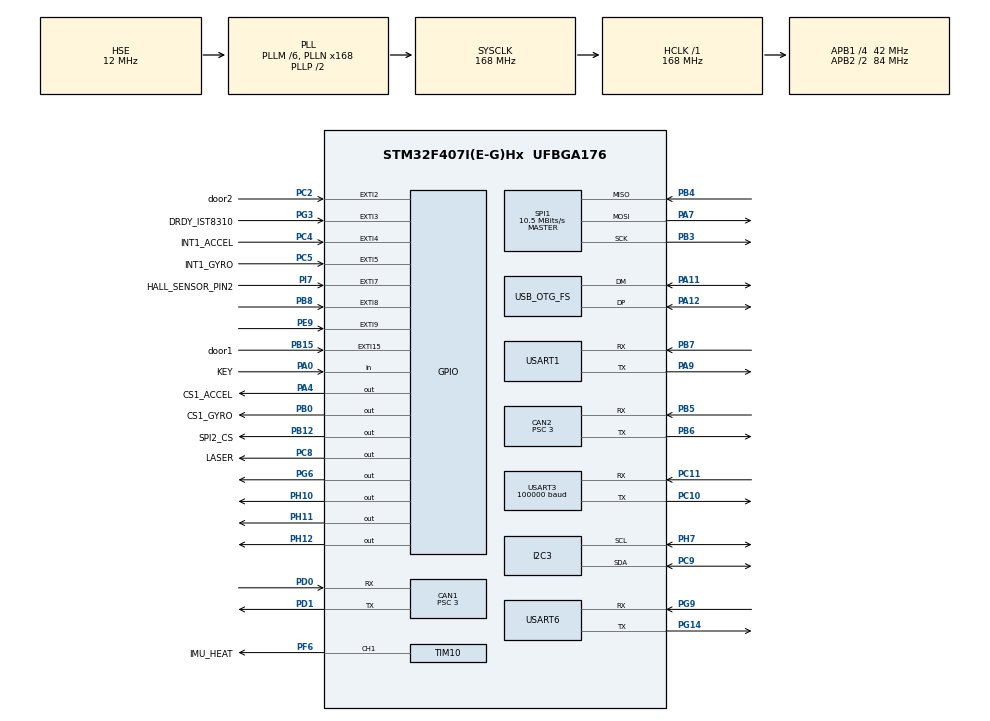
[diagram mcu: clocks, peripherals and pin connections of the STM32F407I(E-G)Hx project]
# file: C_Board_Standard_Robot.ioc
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CAN1.BS1=CAN_BS1_10TQ
CAN1.BS2=CAN_BS2_3TQ
CAN1.CalculateBaudRate=1000000
CAN1.CalculateTimeBit=1000
CAN1.CalculateTimeQuantum=71.42857142857143
CAN1.Prescaler=3
CAN2.BS1=CAN_BS1_10TQ
CAN2.BS2=CAN_BS2_3TQ
CAN2.CalculateBaudRate=1000000
CAN2.CalculateTimeBit=1000
CAN2.CalculateTimeQuantum=71.42857142857143
CAN2.Prescaler=3
Dma.Request0=SPI1_RX
Dma.Request1=SPI1_TX
Dma.Request2=USART1_RX
Dma.Request3=USART1_TX
Dma.Request4=USART3_RX
Dma.Request5=USART3_TX
Dma.Request6=USART6_RX
Dma.Request7=USART6_TX
Dma.SPI1_RX.0.Direction=DMA_PERIPH_TO_MEMORY
Dma.SPI1_RX.0.FIFOMode=DMA_FIFOMODE_DISABLE
Dma.SPI1_RX.0.Instance=DMA2_Stream0
Dma.SPI1_RX.0.MemDataAlignment=DMA_MDATAALIGN_BYTE
Dma.SPI1_RX.0.MemInc=DMA_MINC_ENABLE
Dma.SPI1_RX.0.Mode=DMA_NORMAL
Dma.SPI1_RX.0.PeriphDataAlignment=DMA_PDATAALIGN_BYTE
Dma.SPI1_RX.0.PeriphInc=DMA_PINC_DISABLE
Dma.SPI1_RX.0.Priority=DMA_PRIORITY_VERY_HIGH
Dma.SPI1_TX.1.Direction=DMA_MEMORY_TO_PERIPH
Dma.SPI1_TX.1.FIFOMode=DMA_FIFOMODE_DISABLE
Dma.SPI1_TX.1.Instance=DMA2_Stream3
Dma.SPI1_TX.1.MemDataAlignment=DMA_MDATAALIGN_BYTE
Dma.SPI1_TX.1.MemInc=DMA_MINC_ENABLE
Dma.SPI1_TX.1.Mode=DMA_NORMAL
Dma.SPI1_TX.1.PeriphDataAlignment=DMA_PDATAALIGN_BYTE
Dma.SPI1_TX.1.PeriphInc=DMA_PINC_DISABLE
Dma.SPI1_TX.1.Priority=DMA_PRIORITY_HIGH
Dma.USART1_RX.2.Direction=DMA_PERIPH_TO_MEMORY
Dma.USART1_RX.2.FIFOMode=DMA_FIFOMODE_DISABLE
Dma.USART1_RX.2.Instance=DMA2_Stream2
Dma.USART1_RX.2.MemDataAlignment=DMA_MDATAALIGN_BYTE
Dma.USART1_RX.2.MemInc=DMA_MINC_ENABLE
Dma.USART1_RX.2.Mode=DMA_NORMAL
Dma.USART1_RX.2.PeriphDataAlignment=DMA_PDATAALIGN_BYTE
Dma.USART1_RX.2.PeriphInc=DMA_PINC_DISABLE
Dma.USART1_RX.2.Priority=DMA_PRIORITY_VERY_HIGH
Dma.USART1_TX.3.Direction=DMA_MEMORY_TO_PERIPH
Dma.USART1_TX.3.FIFOMode=DMA_FIFOMODE_DISABLE
Dma.USART1_TX.3.Instance=DMA2_Stream7
Dma.USART1_TX.3.MemDataAlignment=DMA_MDATAALIGN_BYTE
Dma.USART1_TX.3.MemInc=DMA_MINC_ENABLE
Dma.USART1_TX.3.Mode=DMA_NORMAL
Dma.USART1_TX.3.PeriphDataAlignment=DMA_PDATAALIGN_BYTE
Dma.USART1_TX.3.PeriphInc=DMA_PINC_DISABLE
Dma.USART1_TX.3.Priority=DMA_PRIORITY_VERY_HIGH
Dma.USART3_RX.4.Direction=DMA_PERIPH_TO_MEMORY
Dma.USART3_RX.4.FIFOMode=DMA_FIFOMODE_DISABLE
Dma.USART3_RX.4.Instance=DMA1_Stream1
Dma.USART3_RX.4.MemDataAlignment=DMA_MDATAALIGN_BYTE
Dma.USART3_RX.4.MemInc=DMA_MINC_ENABLE
Dma.USART3_RX.4.Mode=DMA_NORMAL
Dma.USART3_RX.4.PeriphDataAlignment=DMA_PDATAALIGN_BYTE
Dma.USART3_RX.4.PeriphInc=DMA_PINC_DISABLE
Dma.USART3_RX.4.Priority=DMA_PRIORITY_VERY_HIGH
Dma.USART3_TX.5.Direction=DMA_MEMORY_TO_PERIPH
Dma.USART3_TX.5.FIFOMode=DMA_FIFOMODE_DISABLE
Dma.USART3_TX.5.Instance=DMA1_Stream3
Dma.USART3_TX.5.MemDataAlignment=DMA_MDATAALIGN_BYTE
Dma.USART3_TX.5.MemInc=DMA_MINC_ENABLE
Dma.USART3_TX.5.Mode=DMA_NORMAL
Dma.USART3_TX.5.PeriphDataAlignment=DMA_PDATAALIGN_BYTE
Dma.USART3_TX.5.PeriphInc=DMA_PINC_DISABLE
Dma.USART3_TX.5.Priority=DMA_PRIORITY_VERY_HIGH
Dma.USART6_RX.6.Direction=DMA_PERIPH_TO_MEMORY
Dma.USART6_RX.6.FIFOMode=DMA_FIFOMODE_DISABLE
Dma.USART6_RX.6.Instance=DMA2_Stream1
Dma.USART6_RX.6.MemDataAlignment=DMA_MDATAALIGN_BYTE
Dma.USART6_RX.6.MemInc=DMA_MINC_ENABLE
Dma.USART6_RX.6.Mode=DMA_NORMAL
Dma.USART6_RX.6.PeriphDataAlignment=DMA_PDATAALIGN_BYTE
Dma.USART6_RX.6.PeriphInc=DMA_PINC_DISABLE
Dma.USART6_RX.6.Priority=DMA_PRIORITY_VERY_HIGH
Dma.USART6_TX.7.Direction=DMA_MEMORY_TO_PERIPH
Dma.USART6_TX.7.FIFOMode=DMA_FIFOMODE_DISABLE
Dma.USART6_TX.7.Instance=DMA2_Stream6
Dma.USART6_TX.7.MemDataAlignment=DMA_MDATAALIGN_BYTE
Dma.USART6_TX.7.MemInc=DMA_MINC_ENABLE
Dma.USART6_TX.7.Mode=DMA_NORMAL
Dma.USART6_TX.7.PeriphDataAlignment=DMA_PDATAALIGN_BYTE
Dma.USART6_TX.7.PeriphInc=DMA_PINC_DISABLE
Dma.USART6_TX.7.Priority=DMA_PRIORITY_VERY_HIGH
FREERTOS.INCLUDE_eTaskGetState=1
FREERTOS.INCLUDE_pcTaskGetTaskName=1
FREERTOS.INCLUDE_uxTaskGetStackHighWaterMark=1
FREERTOS.INCLUDE_vTaskCleanUpResources=1
FREERTOS.INCLUDE_vTaskDelayUntil=1
FREERTOS.INCLUDE_xEventGroupSetBitFromISR=1
FREERTOS.INCLUDE_xQueueGetMutexHolder=1
FREERTOS.INCLUDE_xSemaphoreGetMutexHolder=1
FREERTOS.INCLUDE_xTaskAbortDelay=1
FREERTOS.INCLUDE_xTaskGetCurrentTaskHandle=1
FREERTOS.INCLUDE_xTaskGetHandle=1
FREERTOS.INCLUDE_xTimerPendFunctionCall=1
FREERTOS.Tasks01=INSTask,2,1024,StartINSTask,Default,NULL,Dynamic,NULL,NULL;ShootTask,0,128,Shoot_task,As weak,NULL,Dynamic,NULL,NULL;PitchTask,0,128,Pitch_task,As weak,NULL,Dynamic,NULL,NULL;GimbalTask,2,128,Gimbal_task,As weak,NULL,Dynamic,NULL,NULL
FREERTOS.configTOTAL_HEAP_SIZE=24576
I2C3.I2C_Mode=I2C_Fast
Mcu.Family=STM32F4
Mcu.Name=STM32F407I(E-G)Hx
Mcu.Package=UFBGA176
NVIC.CAN1_RX0_IRQn=true\:5\:0\:false\:false\:true\:true\:true\:true\:true
NVIC.CAN1_TX_IRQn=true\:5\:0\:false\:false\:true\:true\:true\:true\:true
NVIC.CAN2_RX0_IRQn=true\:5\:0\:false\:false\:true\:true\:true\:true\:true
NVIC.CAN2_TX_IRQn=true\:5\:0\:false\:false\:true\:true\:true\:true\:true
NVIC.DMA1_Stream1_IRQn=true\:5\:0\:false\:false\:true\:true\:false\:true\:true
NVIC.DMA1_Stream3_IRQn=true\:5\:0\:false\:false\:true\:true\:false\:true\:true
NVIC.DMA2_Stream0_IRQn=true\:5\:0\:false\:false\:true\:true\:false\:true\:true
NVIC.DMA2_Stream1_IRQn=true\:5\:0\:false\:false\:true\:true\:false\:true\:true
NVIC.DMA2_Stream2_IRQn=true\:5\:0\:true\:false\:false\:true\:false\:true\:true
NVIC.DMA2_Stream3_IRQn=true\:5\:0\:true\:false\:false\:true\:false\:true\:true
NVIC.DMA2_Stream6_IRQn=true\:5\:0\:false\:false\:true\:true\:false\:true\:true
NVIC.DMA2_Stream7_IRQn=true\:5\:0\:false\:false\:true\:true\:false\:true\:true
NVIC.EXTI15_10_IRQn=true\:5\:0\:false\:false\:true\:true\:true\:true\:true
NVIC.EXTI2_IRQn=true\:5\:0\:false\:false\:true\:true\:true\:true\:true
NVIC.EXTI3_IRQn=true\:5\:0\:true\:false\:true\:true\:true\:true\:true
NVIC.EXTI4_IRQn=true\:5\:0\:true\:false\:true\:true\:true\:true\:true
NVIC.EXTI9_5_IRQn=true\:5\:0\:true\:false\:true\:true\:true\:true\:true
NVIC.OTG_FS_IRQn=true\:5\:0\:false\:false\:true\:true\:true\:true\:true
NVIC.PriorityGroup=NVIC_PRIORITYGROUP_4
NVIC.SPI1_IRQn=true\:5\:0\:false\:false\:true\:true\:true\:true\:true
NVIC.TIM1_BRK_TIM9_IRQn=true\:5\:0\:false\:false\:true\:true\:true\:true\:true
NVIC.TIM1_UP_TIM10_IRQn=true\:5\:0\:false\:false\:true\:true\:true\:true\:true
NVIC.TIM3_IRQn=true\:15\:0\:false\:false\:true\:false\:false\:true\:true
NVIC.TIM6_DAC_IRQn=true\:5\:0\:false\:false\:true\:true\:true\:true\:true
NVIC.TIM8_BRK_TIM12_IRQn=true\:5\:0\:false\:false\:true\:true\:true\:true\:true
NVIC.TIM8_UP_TIM13_IRQn=true\:5\:0\:false\:false\:true\:true\:true\:true\:true
NVIC.TimeBase=TIM3_IRQn
NVIC.TimeBaseIP=TIM3
NVIC.USART1_IRQn=true\:5\:0\:false\:false\:true\:true\:true\:true\:true
NVIC.USART3_IRQn=true\:5\:0\:false\:false\:true\:true\:true\:true\:true
NVIC.USART6_IRQn=true\:5\:0\:false\:false\:true\:true\:true\:true\:true
PA0-WKUP.GPIO_Label=KEY
PA0-WKUP.GPIO_PuPd=GPIO_PULLUP
PA0-WKUP.Signal=GPIO_Input
PA11.Mode=Device_Only
PA11.Signal=USB_OTG_FS_DM
PA12.Mode=Device_Only
PA12.Signal=USB_OTG_FS_DP
PA13.Mode=Serial_Wire
PA13.Signal=SYS_JTMS-SWDIO
PA14.Mode=Serial_Wire
PA14.Signal=SYS_JTCK-SWCLK
PA4.GPIO_Label=CS1_ACCEL
PA4.GPIO_PuPd=GPIO_PULLUP
PA4.GPIO_Speed=GPIO_SPEED_FREQ_HIGH
PA4.PinState=GPIO_PIN_SET
PA4.Signal=GPIO_Output
PA7.GPIO_PuPd=GPIO_PULLUP
PA7.Mode=Full_Duplex_Master
PA7.Signal=SPI1_MOSI
PA9.Mode=Asynchronous
PA9.Signal=USART1_TX
PB0.GPIO_Label=CS1_GYRO
PB0.GPIO_PuPd=GPIO_PULLUP
PB0.GPIO_Speed=GPIO_SPEED_FREQ_HIGH
PB0.PinState=GPIO_PIN_SET
PB0.Signal=GPIO_Output
PB12.GPIO_Label=SPI2_CS
PB12.GPIO_PuPd=GPIO_PULLUP
PB12.GPIO_Speed=GPIO_SPEED_FREQ_MEDIUM
PB12.PinState=GPIO_PIN_SET
PB12.Signal=GPIO_Output
PB15.GPIO_Label=door1
PB15.GPIO_PuPd=GPIO_PULLDOWN
PB15.Signal=GPXTI15
PB3.GPIO_PuPd=GPIO_PULLUP
PB3.Mode=Full_Duplex_Master
PB3.Signal=SPI1_SCK
PB4.GPIO_PuPd=GPIO_PULLUP
PB4.Mode=Full_Duplex_Master
PB4.Signal=SPI1_MISO
PB5.Mode=CAN_Activate
PB5.Signal=CAN2_RX
PB6.Mode=CAN_Activate
PB6.Signal=CAN2_TX
PB7.Mode=Asynchronous
PB7.Signal=USART1_RX
PB8.Signal=GPXTI8
PC10.Mode=Asynchronous
PC10.Signal=USART3_TX
PC11.Mode=Asynchronous
PC11.Signal=USART3_RX
PC2.GPIO_Label=door2
PC2.GPIO_ModeDefaultEXTI=GPIO_MODE_IT_RISING
PC2.GPIO_PuPd=GPIO_PULLDOWN
PC2.Signal=GPXTI2
PC4.GPIO_Label=INT1_ACCEL
PC4.GPIO_ModeDefaultEXTI=GPIO_MODE_IT_FALLING
PC4.GPIO_PuPd=GPIO_PULLUP
PC4.Signal=GPXTI4
PC5.GPIO_Label=INT1_GYRO
PC5.GPIO_ModeDefaultEXTI=GPIO_MODE_IT_FALLING
PC5.GPIO_PuPd=GPIO_PULLUP
PC5.Signal=GPXTI5
PC8.GPIO_Label=LASER
PC8.Signal=GPIO_Output
PC9.Mode=I2C
PC9.Signal=I2C3_SDA
PD0.Mode=CAN_Activate
PD0.Signal=CAN1_RX
PD1.Mode=CAN_Activate
PD1.Signal=CAN1_TX
PE9.GPIO_PuPd=GPIO_PULLUP
PE9.Signal=GPXTI9
PF6.GPIO_Label=IMU_HEAT
PF6.GPIO_PuPd=GPIO_PULLUP
PF6.GPIO_Speed=GPIO_SPEED_FREQ_HIGH
PF6.Signal=S_TIM10_CH1
PG14.Mode=Asynchronous
PG14.Signal=USART6_TX
PG3.GPIO_Label=DRDY_IST8310
PG3.GPIO_ModeDefaultEXTI=GPIO_MODE_IT_FALLING
PG3.GPIO_PuPd=GPIO_PULLUP
PG3.Signal=GPXTI3
PG6.Signal=GPIO_Output
PG9.Mode=Asynchronous
PG9.Signal=USART6_RX
PH0-OSC_IN.Mode=HSE-External-Oscillator
PH0-OSC_IN.Signal=RCC_OSC_IN
PH1-OSC_OUT.Mode=HSE-External-Oscillator
PH1-OSC_OUT.Signal=RCC_OSC_OUT
PH10.GPIO_PuPd=GPIO_PULLUP
PH10.Signal=GPIO_Output
PH11.GPIO_PuPd=GPIO_PULLUP
PH11.Signal=GPIO_Output
PH12.GPIO_PuPd=GPIO_PULLUP
PH12.Signal=GPIO_Output
PH7.Mode=I2C
PH7.Signal=I2C3_SCL
PI7.GPIO_Label=HALL_SENSOR_PIN2
PI7.Signal=GPXTI7
ProjectManager.HeapSize=0x2000
ProjectManager.StackSize=0x2000
ProjectManager.TargetToolchain=MDK-ARM V5.32
RCC.48MHZClocksFreq_Value=48000000
RCC.AHBFreq_Value=168000000
RCC.APB1CLKDivider=RCC_HCLK_DIV4
RCC.APB1Freq_Value=42000000
RCC.APB1TimFreq_Value=84000000
RCC.APB2CLKDivider=RCC_HCLK_DIV2
RCC.APB2Freq_Value=84000000
RCC.APB2TimFreq_Value=168000000
RCC.CortexFreq_Value=168000000
RCC.HCLKFreq_Value=168000000
RCC.HSE_VALUE=12000000
RCC.HSI_VALUE=16000000
RCC.LSE_VALUE=32768
RCC.PLLM=6
RCC.PLLN=168
RCC.PLLQ=7
RCC.RCC_RTC_Clock_SourceVirtual=RCC_RTCCLKSOURCE_HSE_DIV30
RCC.RCC_RTC_Clock_Source_FROM_HSE=RCC_RTCCLKSOURCE_HSE_DIV30
RCC.SYSCLKFreq_VALUE=168000000
RCC.SYSCLKSource=RCC_SYSCLKSOURCE_PLLCLK
RCC.VCOOutputFreq_Value=336000000
SH.S_TIM10_CH1.0=TIM10_CH1,PWM Generation1 CH1
SPI1.BaudRatePrescaler=SPI_BAUDRATEPRESCALER_8
SPI1.CLKPhase=SPI_PHASE_2EDGE
SPI1.CLKPolarity=SPI_POLARITY_HIGH
SPI1.CalculateBaudRate=10.5 MBits/s
SPI1.Direction=SPI_DIRECTION_2LINES
SPI1.Mode=SPI_MODE_MASTER
SPI1.VirtualType=VM_MASTER
TIM1.Period=10000-1
TIM1.Prescaler=16800-1
TIM10.Channel=TIM_CHANNEL_1
TIM10.Period=2000-1
TIM10.Prescaler=84-1
TIM2.Period=100-1
TIM2.Prescaler=8400
TIM6.AutoReloadPreload=TIM_AUTORELOAD_PRELOAD_DISABLE
TIM6.Period=10000
TIM6.Prescaler=168-1
TIM9.Period=100-1
TIM9.Prescaler=16800-1
USART1.VirtualMode=VM_ASYNC
USART3.BaudRate=100000
USART3.VirtualMode=VM_ASYNC
USART6.VirtualMode=VM_ASYNC
USB_DEVICE.CLASS_NAME_FS=CDC
USB_DEVICE.VirtualMode-CDC_FS=Cdc
USB_DEVICE.VirtualModeFS=Cdc_FS
USB_OTG_FS.VirtualMode=Device_Only
VP_FREERTOS_VS_CMSIS_V1.Mode=CMSIS_V1
VP_SYS_VS_tim3.Mode=TIM3
VP_TIM10_VS_ClockSourceINT.Mode=Enable_Timer
VP_TIM1_VS_ClockSourceINT.Mode=Internal
VP_TIM2_VS_ClockSourceINT.Mode=Internal
VP_TIM4_VS_ClockSourceINT.Mode=Internal
VP_TIM6_VS_ClockSourceINT.Mode=Enable_Timer
VP_TIM8_VS_ClockSourceINT.Mode=Internal
VP_TIM9_VS_ClockSourceINT.Mode=Internal
VP_USB_DEVICE_VS_USB_DEVICE_CDC_FS.Mode=CDC_FS
board=custom

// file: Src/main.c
/* USER CODE BEGIN Header */
/**
 ******************************************************************************
 * @file           : main.c
 * @brief          : Main program body
 ******************************************************************************
 * @attention
 *
 * Copyright (c) 2023 STMicroelectronics.
 * All rights reserved.
 *
 * This software is licensed under terms that can be found in the LICENSE file
 * in the root directory of this software component.
 * If no LICENSE file comes with this software, it is provided AS-IS.
 *
 ******************************************************************************
 */
/* USER CODE END Header */
#include "main.h"
#include "cmsis_os.h"
#include "can.h"
#include "dma.h"
#include "i2c.h"
#include "spi.h"
#include "tim.h"
#include "usart.h"
#include "usb_device.h"
#include "gpio.h"

/* USER CODE BEGIN Includes */
#include "INS_task.h"
#include "drv_can.h"
#include "drv_usart.h"
#include "bsp_dwt.h"
/* USER CODE END Includes */

void SystemClock_Config(void);
void MX_FREERTOS_Init(void);

/* USER CODE BEGIN 0 */
// ȫ�ֱ���
uint16_t can_cnt_2;
float target_speed[7] = {0};                  // ʵ��������ת��320rpm
float target_speed_can_2[7] = {0};            // ʵ��������ת��320rpm
motor_info_t motor_info[MOTOR_MAX_NUM];       // ��������7���ֽ�
motor_info_t motor_info_can_2[MOTOR_MAX_NUM]; // ��������7���ֽ�

uint8_t can_flag = 0;
double step = 9158 / 660;
double r;
double target_v;
int16_t target_int1;
int16_t target_int2; // ���ڵ�����ת��ֱ��
double target_curl;
float yuntai_step = 60 * (1024 - 364);

// ����
float time = 100;   // ʱ��
float time_count;   // ʱ������?
uint8_t flag_shoot; // ��־λ
float round_shoot;  // ת��Ȧ��
float down;
float up;

// Yaw��
int16_t target_angle = 4096;
int16_t err_angle;
int16_t max_yaw_speed;
float small;
float angle_limit = 8191; // ת�ǵ�����?

uint8_t rx_data[8];

extern int flag;
/* USER CODE END 0 */

int main(void)
{

  /* MCU Configuration--------------------------------------------------------*/

  /* Reset of all peripherals, Initializes the Flash interface and the Systick. */
  HAL_Init();

  /* Configure the system clock */
  SystemClock_Config();

  /* Initialize all configured peripherals */
  MX_GPIO_Init();
  MX_DMA_Init();
  MX_SPI1_Init();
  MX_TIM10_Init();
  MX_CAN1_Init();
  MX_CAN2_Init();
  MX_I2C3_Init();
  MX_TIM1_Init();
  MX_TIM2_Init();
  MX_TIM8_Init();
  MX_TIM9_Init();
  MX_USART1_UART_Init();
  MX_USART3_UART_Init();
  MX_USART6_UART_Init();
  MX_TIM4_Init();
  MX_TIM6_Init();
  /* USER CODE BEGIN 2 */
  HAL_TIM_PWM_Start(&htim10, TIM_CHANNEL_1);
  HAL_NVIC_SetPriority(TIM2_IRQn, 0, 0);
  //	HAL_NVIC_SetPriority(SysTick_IRQn,1,1);
  CAN1_Init();
  CAN2_Init();
  USART6_Init();
  USART3_Init();
  HAL_TIM_Base_Start_IT(&htim1);
  HAL_TIM_Base_Start_IT(&htim6); // 测试发弹速度
  DWT_Init(168);
  while (BMI088_init(&hspi1, 1) != BMI088_NO_ERROR)
    ;
  /* USER CODE END 2 */

  /* Call init function for freertos objects (in freertos.c) */
  MX_FREERTOS_Init();

  /* Start scheduler */
  osKernelStart();

  /* We should never get here as control is now taken by the scheduler */
  /* Infinite loop */
  while (1)
  {

  }
}

void SystemClock_Config(void)
{
  RCC_OscInitTypeDef RCC_OscInitStruct = {0};
  RCC_ClkInitTypeDef RCC_ClkInitStruct = {0};

  /** Configure the main internal regulator output voltage
  */
  __HAL_RCC_PWR_CLK_ENABLE();
  __HAL_PWR_VOLTAGESCALING_CONFIG(PWR_REGULATOR_VOLTAGE_SCALE1);

  /** Initializes the RCC Oscillators according to the specified parameters
  * in the RCC_OscInitTypeDef structure.
  */
  RCC_OscInitStruct.OscillatorType = RCC_OSCILLATORTYPE_HSE;
  RCC_OscInitStruct.HSEState = RCC_HSE_ON;
  RCC_OscInitStruct.PLL.PLLState = RCC_PLL_ON;
  RCC_OscInitStruct.PLL.PLLSource = RCC_PLLSOURCE_HSE;
  RCC_OscInitStruct.PLL.PLLM = 6;
  RCC_OscInitStruct.PLL.PLLN = 168;
  RCC_OscInitStruct.PLL.PLLP = RCC_PLLP_DIV2;
  RCC_OscInitStruct.PLL.PLLQ = 7;
  if (HAL_RCC_OscConfig(&RCC_OscInitStruct) != HAL_OK)
  {
    Error_Handler();
  }

  /** Initializes the CPU, AHB and APB buses clocks
  */
  RCC_ClkInitStruct.ClockType = RCC_CLOCKTYPE_HCLK|RCC_CLOCKTYPE_SYSCLK
                              |RCC_CLOCKTYPE_PCLK1|RCC_CLOCKTYPE_PCLK2;
  RCC_ClkInitStruct.SYSCLKSource = RCC_SYSCLKSOURCE_PLLCLK;
  RCC_ClkInitStruct.AHBCLKDivider = RCC_SYSCLK_DIV1;
  RCC_ClkInitStruct.APB1CLKDivider = RCC_HCLK_DIV4;
  RCC_ClkInitStruct.APB2CLKDivider = RCC_HCLK_DIV2;

  if (HAL_RCC_ClockConfig(&RCC_ClkInitStruct, FLASH_LATENCY_5) != HAL_OK)
  {
    Error_Handler();
  }
}

void HAL_TIM_PeriodElapsedCallback(TIM_HandleTypeDef *htim)
{
  if (htim->Instance == TIM3) {
    HAL_IncTick();
  }
}

void Error_Handler(void)
{
  __disable_irq();
  while (1)
  {
  }
}

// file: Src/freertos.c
/* USER CODE BEGIN Header */
/**
 ******************************************************************************
 * File Name          : freertos.c
 * Description        : Code for freertos applications
 ******************************************************************************
 * @attention
 *
 * <h2><center>&copy; Copyright (c) 2021 STMicroelectronics.
 * All rights reserved.</center></h2>
 *
 * This software component is licensed by ST under Ultimate Liberty license
 * SLA0044, the "License"; You may not use this file except in compliance with
 * the License. You may obtain a copy of the License at:
 *                             www.st.com/SLA0044
 *
 ******************************************************************************
 */
/* USER CODE END Header */

#include "FreeRTOS.h"
#include "task.h"
#include "main.h"
#include "cmsis_os.h"

/* USER CODE BEGIN Includes */
#include "rc_potocal.h"
#include "arm_math.h"
#include "INS_task.h"
#include "exchange.h"
#include "stm32f4xx_it.h"
/* USER CODE END Includes */

/* USER CODE BEGIN Variables */
osThreadId ExchangeTaskHandle;
osThreadId DaemonTaskHandle;
/* USER CODE END Variables */
osThreadId INSTaskHandle;
osThreadId ShootTaskHandle;
osThreadId PitchTaskHandle;
osThreadId GimbalTaskHandle;

/* USER CODE BEGIN FunctionPrototypes */
void exchange_task(void const *argument);
void StartDAEMONTASK(void const *argument);
/* USER CODE END FunctionPrototypes */

void StartINSTask(void const * argument);
void Shoot_task(void const * argument);
void Pitch_task(void const * argument);
void Gimbal_task(void const * argument);

extern void MX_USB_DEVICE_Init(void);
void MX_FREERTOS_Init(void); /* (MISRA C 2004 rule 8.1) */

/* GetIdleTaskMemory prototype (linked to static allocation support) */
void vApplicationGetIdleTaskMemory( StaticTask_t **ppxIdleTaskTCBBuffer, StackType_t **ppxIdleTaskStackBuffer, uint32_t *pulIdleTaskStackSize );

/* GetTimerTaskMemory prototype (linked to static allocation support) */
void vApplicationGetTimerTaskMemory( StaticTask_t **ppxTimerTaskTCBBuffer, StackType_t **ppxTimerTaskStackBuffer, uint32_t *pulTimerTaskStackSize );

/* USER CODE BEGIN GET_IDLE_TASK_MEMORY */
static StaticTask_t xIdleTaskTCBBuffer;
static StackType_t xIdleStack[configMINIMAL_STACK_SIZE];

void vApplicationGetIdleTaskMemory(StaticTask_t **ppxIdleTaskTCBBuffer, StackType_t **ppxIdleTaskStackBuffer, uint32_t *pulIdleTaskStackSize)
{
  *ppxIdleTaskTCBBuffer = &xIdleTaskTCBBuffer;
  *ppxIdleTaskStackBuffer = &xIdleStack[0];
  *pulIdleTaskStackSize = configMINIMAL_STACK_SIZE;
  /* place for user code */
}
/* USER CODE END GET_IDLE_TASK_MEMORY */

/* USER CODE BEGIN GET_TIMER_TASK_MEMORY */
static StaticTask_t xTimerTaskTCBBuffer;
static StackType_t xTimerStack[configTIMER_TASK_STACK_DEPTH];

void vApplicationGetTimerTaskMemory(StaticTask_t **ppxTimerTaskTCBBuffer, StackType_t **ppxTimerTaskStackBuffer, uint32_t *pulTimerTaskStackSize)
{
  *ppxTimerTaskTCBBuffer = &xTimerTaskTCBBuffer;
  *ppxTimerTaskStackBuffer = &xTimerStack[0];
  *pulTimerTaskStackSize = configTIMER_TASK_STACK_DEPTH;
  /* place for user code */
}
/* USER CODE END GET_TIMER_TASK_MEMORY */

void MX_FREERTOS_Init(void) {

  /* Create the thread(s) */
  /* definition and creation of INSTask */
  osThreadDef(INSTask, StartINSTask, osPriorityHigh, 0, 1024);
  INSTaskHandle = osThreadCreate(osThread(INSTask), NULL);

  /* definition and creation of ShootTask */
  osThreadDef(ShootTask, Shoot_task, osPriorityNormal, 0, 128);
  ShootTaskHandle = osThreadCreate(osThread(ShootTask), NULL);

  /* definition and creation of PitchTask */
  osThreadDef(PitchTask, Pitch_task, osPriorityNormal, 0, 128);
  PitchTaskHandle = osThreadCreate(osThread(PitchTask), NULL);

  /* definition and creation of GimbalTask */
  osThreadDef(GimbalTask, Gimbal_task, osPriorityHigh, 0, 128);
  GimbalTaskHandle = osThreadCreate(osThread(GimbalTask), NULL);

  /* USER CODE BEGIN RTOS_THREADS */
  /* add threads, ... */
  osThreadDef(ExchangeTask, exchange_task, osPriorityNormal, 0, 128);
  ExchangeTaskHandle = osThreadCreate(osThread(ExchangeTask), NULL);

  osThreadDef(DaemonTask, StartDAEMONTASK, osPriorityNormal, 0, 128);
  DaemonTaskHandle = osThreadCreate(osThread(DaemonTask), NULL);
  /* USER CODE END RTOS_THREADS */

}

void StartINSTask(void const * argument)
{
  /* init code for USB_DEVICE */
  MX_USB_DEVICE_Init();
  /* USER CODE BEGIN StartINSTask */
  INS_Init();
  /* Infinite loop */
  for (;;)
  {
    INS_Task();
    osDelay(1);
  }
  /* USER CODE END StartINSTask */
}

__weak void Shoot_task(void const * argument)
{
  for(;;)
  {
    osDelay(1);
  }
}

__weak void Pitch_task(void const * argument)
{
  for(;;)
  {
    osDelay(1);
  }
}

__weak void Gimbal_task(void const * argument)
{
  for (;;)
  {
    osDelay(1);
  }
}

/* USER CODE BEGIN Application */
// void StartDefaultTask(void const *argument)
// {
//   /* USER CODE BEGIN StartDefaultTask */
//   HAL_GPIO_WritePin(GPIOH, GPIO_PIN_11, GPIO_PIN_SET);
//   HAL_GPIO_WritePin(GPIOH, GPIO_PIN_10, GPIO_PIN_SET);
//   // uint8_t TIM1_flag = 1;
//   /* Infinite loop */
//   for (;;)
//   {
//     osDelay(1);
//   }
//   /* USER CODE END StartDefaultTask */
// }
/* USER CODE END Application */
